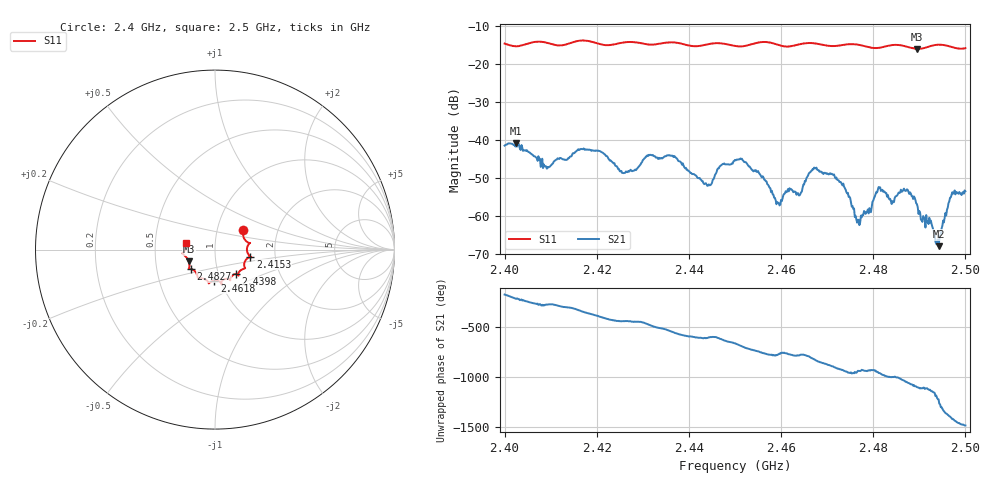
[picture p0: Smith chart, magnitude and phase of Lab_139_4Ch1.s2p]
# Hz S RI R 50
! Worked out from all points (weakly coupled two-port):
!   601 points, 2.4 GHz to 2.5 GHz, reference 50 ohm
!   highest |S21| = -40.75 dB at 2.4025 GHz (marker M1); lowest = -67.9 dB at 2.4942 GHz (marker M2)
!   lowest |S11| = -15.9 dB at 2.4895 GHz (marker M3), VSWR 1.38, Z = 37 - j5.03 ohm
!   |S11| at or under -10 dB: start of sweep to end of sweep
!   S12 and S22 are empty: the file has one direction only
!   S11 on the Smith chart (normalised r, x): 2.4 GHz: 1.33, +0.29; 2.4153 GHz: 1.48, -0.12; 2.4398 GHz: 1.21, -0.34; 2.4618 GHz: 0.94, -0.33; 2.4827 GHz: 0.75, -0.17; 2.5 GHz: 0.72, +0.06
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2.4e9  0.1551 0.1066  -0.00849 -0.000321  0 0  0 0
2.4025e9  0.1602 0.0659  -0.0069 0.00604  0 0  0 0
2.409167e9  0.1902 0.0332  0.000541 0.00418  0 0  0 0
2.415333e9  0.1962 -0.0391  0.00546 0.00438  0 0  0 0
2.416667e9  0.202 -0.0431  0.00738 0.00213  0 0  0 0
2.425667e9  0.1661 -0.1003  0.000355 -0.00368  0 0  0 0
2.433333e9  0.1299 -0.1339  -0.00484 -0.00295  0 0  0 0
2.439833e9  0.1155 -0.1357  -0.00229 0.00324  0 0  0 0
2.444333e9  0.0849 -0.1655  -0.00105 0.0024  0 0  0 0
2.45e9  0.0651 -0.1626  0.00322 0.00447  0 0  0 0
2.459333e9  0.0275 -0.179  0.000811 -0.00126  0 0  0 0
2.461833e9  -0.0036 -0.1726  0.00131 -0.00193  0 0  0 0
2.464e9  -0.0281 -0.1823  0.000751 -0.00172  0 0  0 0
2.466667e9  -0.0349 -0.1878  -0.000303 -0.00398  0 0  0 0
2.473e9  -0.0808 -0.1597  -0.00247 0.00131  0 0  0 0
2.476667e9  -0.0963 -0.1547  -0.000673 0.000588  0 0  0 0
2.482667e9  -0.1348 -0.1083  5.17e-05 0.00202  0 0  0 0
2.483333e9  -0.1398 -0.1081  0.000379 0.0017  0 0  0 0
2.4895e9  -0.1457 -0.0663  0.0013 -0.000597  0 0  0 0
2.494167e9  -0.1806 -0.022  -0.000335 -0.00022  0 0  0 0
2.497167e9  -0.1689 -0.00578  0.00199 0.000552  0 0  0 0
2.5e9  -0.1594 0.0387  0.00143 -0.00158  0 0  0 0
